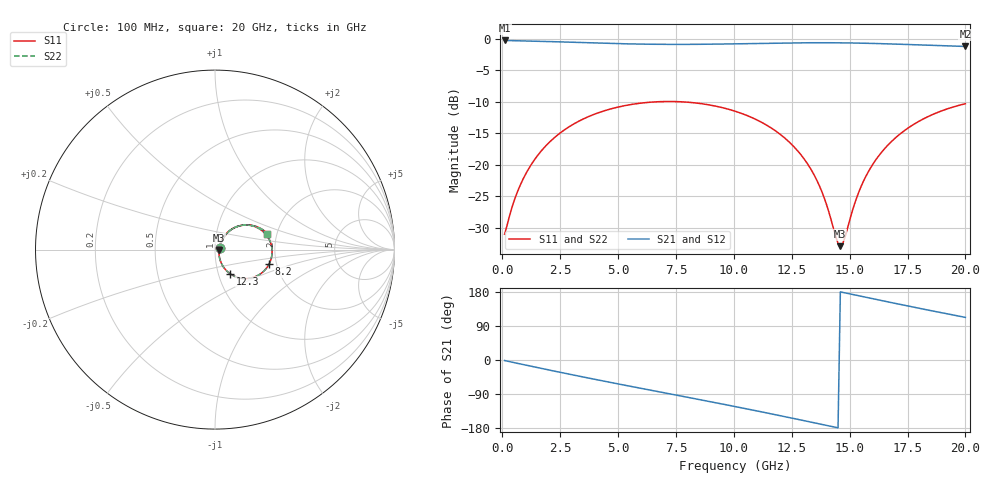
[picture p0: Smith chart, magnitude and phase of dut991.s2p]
! Touchstone file exported from HFSS 2026.1.0
!  File:  C:/ffzhzh/LocalFiles/Ansys_Project_Files/temp_train_TSV_RDL_991_1783288581_38704.aedt
!  Generated:  06:04:17 AM Jul  6, 2026
!  Design:  TSV_RDL
!  Project:  temp_train_TSV_RDL_991_1783288581_38704
! Variables:
!  h_bsmrdl = 2.9um
!  h_ox = 20um
!  h_rdl = 5um
!  h_sub = 70.27um
!  h_tmrdl = 5.61um
!  h_tsv = 70.27um
!  h_via = 3um
!  l_bsmrdl = 785.25um
!  l_sub = 4039.6um
!  l_tmrdl = 298.86um
!  m_sub = 200um
!  pitch = 26.13um
!  r_tsv = 9.1um
!  s_tmrdl = 10um
!  w_bsmrdl = 13.64um
!  w_sub = 500um
!  w_tmrdl = 15.83um
!  x_tsv_center1 = 306.775um
!  x_tsv_center2 = 1105.665um
!  x_tsv_center3 = 1420.355um
!  x_tsv_center4 = 2219.245um
!  x_tsv_center5 = 2533.935um
!  x_tsv_center6 = 3332.825um
# GHz S MA R 50.000000
! Terminal data exported
! Port[1] = TM_RDL1_1_T1
! Port[2] = TM_RDL5_1_T1
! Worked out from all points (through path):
!   200 points, 100 MHz to 20 GHz, reference 50 ohm
!   highest |S21| = -0.23 dB at 100 MHz (marker M1); lowest = -1.2 dB at 20 GHz (marker M2)
!   group delay of S21, straight-line fit = 34.2 ps
!   lowest |S11| = -32.9 dB at 14.6 GHz (marker M3), VSWR 1.05, Z = 52.3 - j0.227 ohm
!   |S11| at or under -10 dB: start of sweep to 6.583 GHz; 7.815 GHz to end of sweep
!   |S22| runs from -33.0 to -9.9 dB; largest |S21 - S12| = 1.8e-13
!   S11 on the Smith chart (normalised r, x): 100 MHz: 1.05, +0.02; 8.2 GHz: 1.83, -0.32; 12.3 GHz: 1.14, -0.31; 20 GHz: 1.78, +0.35
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0.1  0.02808 17.5  0.9734 -1.4  0.9734 -1.4  0.02808 17.5
! Gamma 0 0 0 0
! Port Impedance 50 0 50 0
0.6  0.05749 49.5  0.968 -8.1  0.968 -8.1  0.05749 49.5
1.3  0.1038 54.2  0.9618 -17.2  0.9618 -17.2  0.1038 54.2
2.3  0.1673 47.9  0.9507 -30.0  0.9507 -30.0  0.1673 47.9
3.5  0.2314 36.1  0.9354 -45.0  0.9354 -45.0  0.2314 36.1
5.1  0.2904 19.0  0.9174 -64.3  0.9174 -64.3  0.2904 19.0
6.8  0.3177 0.5  0.9068 -84.3  0.9068 -84.3  0.3177 0.5
8.2  0.3122 -14.7  0.9063 -100.7  0.9063 -100.7  0.3123 -14.7
10.1  0.265 -35.5  0.9156 -123.4  0.9156 -123.4  0.265 -35.5
11.3  0.2125 -48.3  0.924 -138.2  0.924 -138.2  0.2126 -48.4
12.3  0.1572 -58.2  0.9302 -150.7  0.9302 -150.7  0.1572 -58.2
13.4  0.08749 -65.0  0.9337 -164.8  0.9337 -164.8  0.08753 -65.1
13.9  0.0548 -61.8  0.9338 -171.2  0.9338 -171.2  0.05483 -61.9
14.4  0.02685 -35.1  0.9328 -177.7  0.9328 -177.7  0.02682 -35.4
14.6  0.02256 -5.5  0.932 179.7  0.932 179.7  0.02248 -5.7
14.8  0.02654 24.5  0.9311 177.1  0.9311 177.1  0.02644 24.5
15.2  0.0481 49.8  0.9287 172.0  0.9287 172.0  0.04799 49.8
15.6  0.07417 55.2  0.9257 166.8  0.9257 166.8  0.07407 55.2
16.1  0.1075 54.6  0.921 160.4  0.921 160.4  0.1074 54.6
16.7  0.1464 50.6  0.9142 152.8  0.9142 152.8  0.1463 50.6
18.1  0.2273 37.1  0.8959 135.3  0.8959 135.3  0.2272 37.1
20  0.3058 17.0  0.8721 112.4  0.8721 112.4  0.3057 17.0
